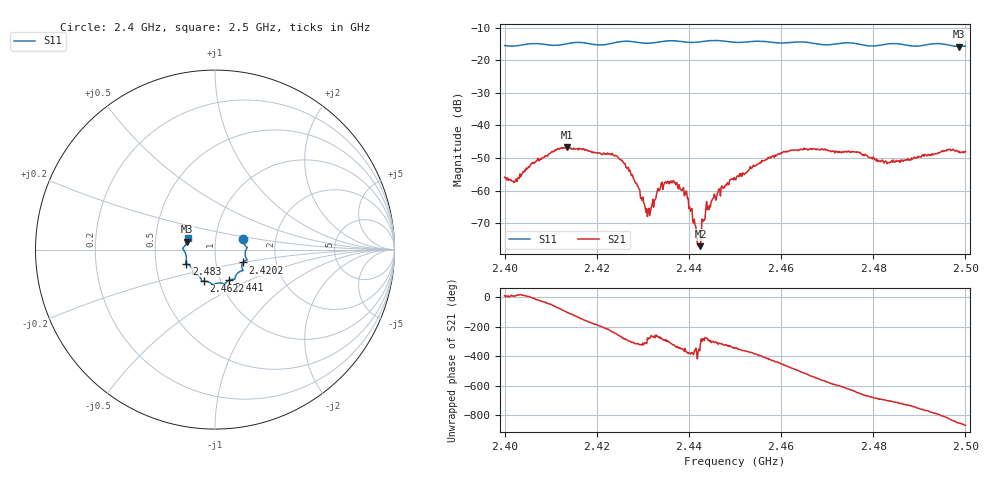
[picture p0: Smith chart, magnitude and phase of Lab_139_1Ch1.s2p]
# Hz S RI R 50
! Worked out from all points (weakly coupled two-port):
!   601 points, 2.4 GHz to 2.5 GHz, reference 50 ohm
!   highest |S21| = -46.72 dB at 2.4135 GHz (marker M1); lowest = -77.1 dB at 2.4425 GHz (marker M2)
!   lowest |S11| = -15.8 dB at 2.4987 GHz (marker M3), VSWR 1.39, Z = 36.4 + j3.29 ohm
!   |S11| at or under -10 dB: start of sweep to end of sweep
!   S12 and S22 are empty: the file has one direction only
!   S11 on the Smith chart (normalised r, x): 2.4 GHz: 1.36, +0.17; 2.4202 GHz: 1.35, -0.20; 2.441 GHz: 1.10, -0.39; 2.4622 GHz: 0.83, -0.30; 2.483 GHz: 0.72, -0.12; 2.5 GHz: 0.73, +0.09
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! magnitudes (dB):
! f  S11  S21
! 2.4 GHz  -15.5  -55.9
! 2.4022 GHz  -15.7  -57.4
! 2.4068 GHz  -14.9  -51.0
! 2.4135 GHz  -15.0  -46.7
! 2.4167 GHz  -14.6  -47.3
! 2.4202 GHz  -15.3  -48.5
! 2.4257 GHz  -14.2  -51.2
! 2.4312 GHz  -14.8  -66.4
! 2.4333 GHz  -14.4  -59.3
! 2.437 GHz  -14.1  -57.5
! 2.4393 GHz  -14.4  -60.2
! 2.441 GHz  -14.6  -70.0
! 2.442 GHz  -14.5  -77.0
! 2.4425 GHz  -14.4  -77.1
! 2.4442 GHz  -14.1  -64.8
! 2.45 GHz  -14.5  -56.5
! 2.4622 GHz  -14.6  -47.6
! 2.4667 GHz  -14.7  -47.4
! 2.483 GHz  -15.0  -51.8
! 2.4833 GHz  -15.0  -51.4
! 2.4987 GHz  -15.8  -47.9
! 2.5 GHz  -15.6  -47.9
